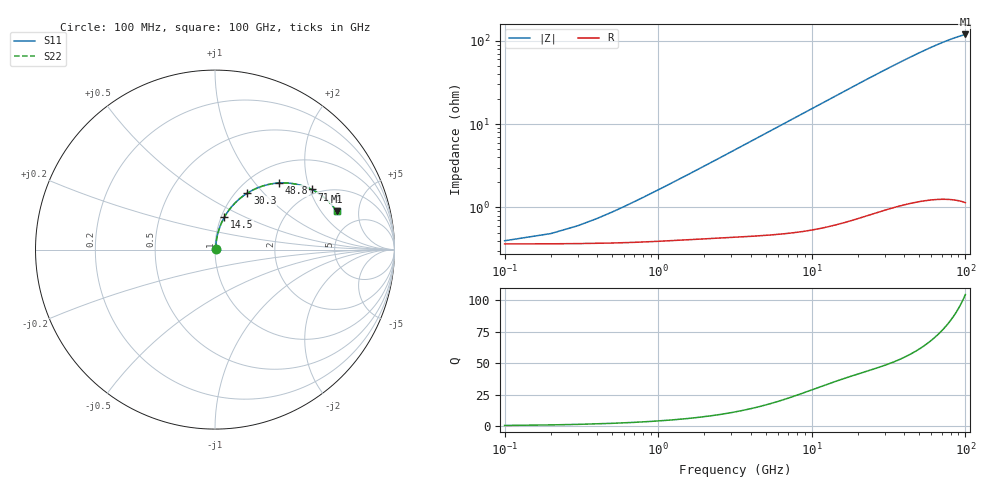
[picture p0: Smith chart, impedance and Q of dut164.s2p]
! Touchstone file exported from HFSS 2026.1.0
!  File:  C:/ffzhzh/LocalFiles/Ansys_Project_Files/temp_train_RDL_164_1783500139_31944.aedt
!  Generated:  04:43:24 PM Jul  8, 2026
!  Design:  RDL
!  Project:  temp_train_RDL_164_1783500139_31944
! Variables:
!  h_bsmrdl = 2um
!  h_ox = 20um
!  h_rdl = 5um
!  h_sub = 80um
!  h_tmrdl = 2.01um
!  h_tsv = 80um
!  h_via = 3um
!  l_bsmrdl = 300um
!  l_sub = 595.03um
!  l_tmrdl = 195.03um
!  m_sub = 200um
!  pitch = 43.34um
!  r_tsv = 6um
!  s_tmrdl = 10um
!  w_bsmrdl = 18um
!  w_sub = 500um
!  w_tmrdl = 10.07um
!  x_tsv_center1 = 200.065um
!  x_tsv_center2 = 518.065um
!  x_tsv_center3 = 723.165um
!  x_tsv_center4 = 1041.165um
!  x_tsv_center5 = 1246.265um
!  x_tsv_center6 = 1564.265um
# GHz S MA R 50.000000
! Terminal data exported
! Port[1] = TM_RDL1_1_T1
! Port[2] = TM_RDL1_1_T2
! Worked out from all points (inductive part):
!   1000 points, 100 MHz to 100 GHz, reference 50 ohm
!   read as one part in series: L = 251 pH near 800 MHz
!   highest Q = 104 at 100 GHz (marker M1), where L = 190 pH
!   S11 on the Smith chart (normalised r, x): 100 MHz: 1.01, +0.00; 14.5 GHz: 1.04, +0.39; 30.3 GHz: 1.13, +0.82; 48.8 GHz: 1.33, +1.34; 71.6 GHz: 1.83, +2.06; 100 GHz: 3.30, +2.86
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0.1  0.003897 20.8  0.9964 -0.1  0.9964 -0.1  0.003897 20.8
! Gamma 0 0 0 0
! Port Impedance 50 0 50 0
0.4  0.006662 55.8  0.9963 -0.4  0.9963 -0.4  0.006662 55.8
1  0.01423 73.0  0.996 -1.0  0.996 -1.0  0.01423 73.0
1.3  0.01815 75.9  0.9958 -1.3  0.9958 -1.3  0.01815 75.9
1.6  0.02207 77.7  0.9957 -1.6  0.9957 -1.6  0.02207 77.7
2.1  0.02863 79.4  0.9954 -2.1  0.9954 -2.1  0.02863 79.4
2.6  0.0352 80.4  0.9951 -2.6  0.9951 -2.6  0.0352 80.4
3.9  0.0523 81.2  0.9942 -3.9  0.9942 -3.9  0.0523 81.2
5.8  0.07722 80.7  0.9923 -5.8  0.9923 -5.8  0.07722 80.7
8.1  0.1071 79.3  0.9893 -8.0  0.9893 -8.0  0.1071 79.3
11  0.1443 77.0  0.9841 -10.9  0.9841 -10.9  0.1443 77.0
14.5  0.1878 73.9  0.9761 -14.2  0.9761 -14.2  0.1879 73.9
16.8  0.2156 71.9  0.97 -16.4  0.97 -16.4  0.2156 71.9
22.9  0.2856 66.5  0.9508 -22.0  0.9508 -22.0  0.2856 66.5
30.3  0.3624 60.2  0.9234 -28.4  0.9234 -28.4  0.3624 60.2
33.4  0.3918 57.7  0.911 -31.0  0.911 -31.0  0.3918 57.7
48.8  0.5145 46.2  0.8475 -42.7  0.8475 -42.7  0.5145 46.2
50.1  0.5232 45.3  0.8422 -43.6  0.8422 -43.6  0.5232 45.3
66.7  0.6135 34.8  0.7795 -54.3  0.7795 -54.3  0.6135 34.7
71.6  0.6339 31.9  0.7633 -57.2  0.7633 -57.2  0.6339 31.9
83.4  0.6735 25.6  0.7294 -63.6  0.7294 -63.6  0.6735 25.6
100  0.7104 17.6  0.6943 -71.8  0.6943 -71.8  0.7104 17.5
